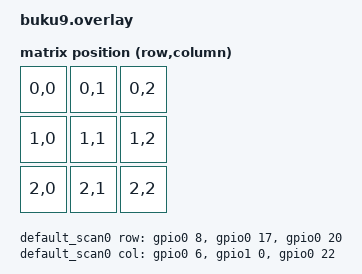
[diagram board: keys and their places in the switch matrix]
#include <dt-bindings/gpio/gpio.h>
#include <dt-bindings/zmk/matrix_transform.h>

/ {
    chosen {
        zmk,kscan = &default_scan0;
        zmk,matrix-transform = &default_transform;
        /* zmk,display = &oled; */   // ← commented out (see note below)
    };

    default_scan0: kscan0 {
        compatible = "zmk,kscan-gpio-matrix";
        label = "default_kscan";
        diode-direction = "col2row";
        col-gpios = <&gpio0 6 GPIO_ACTIVE_LOW>,
                    <&gpio1 0 GPIO_ACTIVE_LOW>,
                    <&gpio0 22 GPIO_ACTIVE_LOW>;
        row-gpios = <&gpio0 8 (GPIO_ACTIVE_HIGH | GPIO_PULL_DOWN)>,
                    <&gpio0 17 (GPIO_ACTIVE_HIGH | GPIO_PULL_DOWN)>,
                    <&gpio0 20 (GPIO_ACTIVE_HIGH | GPIO_PULL_DOWN)>;
    };

    default_transform: matrix_transform {
        compatible = "zmk,matrix-transform";
        columns = <3>;
        rows = <3>;
        map = <RC(0,0) RC(0,1) RC(0,2)
               RC(1,0) RC(1,1) RC(1,2)
               RC(2,0) RC(2,1) RC(2,2)>;
    };
};
